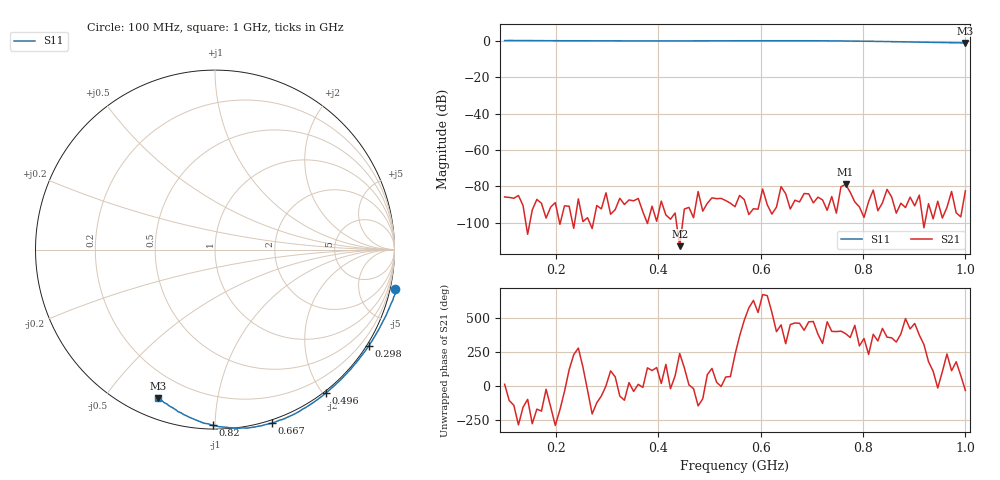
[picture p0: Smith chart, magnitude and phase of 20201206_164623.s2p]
# HZ S RI R 50
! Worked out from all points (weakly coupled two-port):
!   101 points, 100 MHz to 1 GHz, reference 50 ohm
!   highest |S21| = -78.86 dB at 766 MHz (marker M1); lowest = -112.8 dB at 442 MHz (marker M2)
!   lowest |S11| = -1.1 dB at 1 GHz (marker M3), VSWR 16.50, Z = 4.46 - j34.3 ohm
!   |S11| at or under -10 dB: nowhere
!   S12 and S22 are empty: the file has one direction only
!   S11 on the Smith chart (normalised r, x): 100 MHz: -1.18, -9.11; 298 MHz: -0.06, -3.48; 496 MHz: -0.02, -2.04; 667 MHz: -0.03, -1.38; 820 MHz: 0.02, -0.99; 1 GHz: 0.09, -0.69
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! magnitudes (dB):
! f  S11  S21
! 100 MHz  0.2  -85.8
! 109 MHz  0.3  -86.0
! 172 MHz  0.2  -89.3
! 253 MHz  0.1  -99.3
! 298 MHz  0.1  -83.5
! 406 MHz  0.1  -88.1
! 442 MHz  0.1  -112.8
! 496 MHz  0.1  -89.2
! 550 MHz  0.1  -91.1
! 667 MHz  0.2  -87.6
! 703 MHz  0.1  -89.0
! 730 MHz  0.1  -93.1
! 757 MHz  0.0  -80.1
! 766 MHz  0.0  -78.9
! 775 MHz  0.0  -83.2
! 820 MHz  -0.2  -82.0
! 829 MHz  -0.2  -93.3
! 838 MHz  -0.3  -89.0
! 856 MHz  -0.4  -85.8
! 865 MHz  -0.4  -94.7
! 946 MHz  -0.8  -88.1
! 1 GHz  -1.1  -82.4
